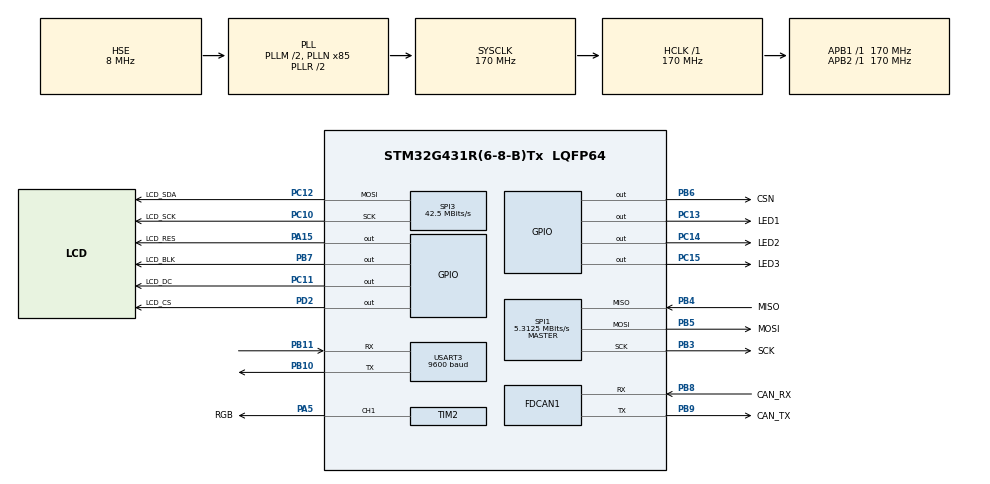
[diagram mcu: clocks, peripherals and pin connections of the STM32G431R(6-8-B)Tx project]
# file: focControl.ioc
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FDCAN1.AutoRetransmission=DISABLE
FDCAN1.CalculateBaudRateNominal=2125000
FDCAN1.CalculateTimeBitNominal=470
FDCAN1.CalculateTimeQuantumNominal=94.11764705882354
FDCAN1.DataPrescaler=10
FDCAN1.DataSyncJumpWidth=1
FDCAN1.DataTimeSeg1=8
FDCAN1.DataTimeSeg2=8
FDCAN1.FrameFormat=FDCAN_FRAME_CLASSIC
FDCAN1.NominalSyncJumpWidth=1
FDCAN1.ProtocolException=DISABLE
FDCAN1.TransmitPause=DISABLE
Mcu.Family=STM32G4
Mcu.Name=STM32G431R(6-8-B)Tx
Mcu.Package=LQFP64
NVIC.FDCAN1_IT0_IRQn=true\:0\:0\:false\:false\:true\:true\:true\:true
NVIC.PriorityGroup=NVIC_PRIORITYGROUP_4
NVIC.USART3_IRQn=true\:0\:0\:false\:false\:true\:true\:true\:true
PA13.Mode=Serial_Wire
PA13.Signal=SYS_JTMS-SWDIO
PA14.Mode=Serial_Wire
PA14.Signal=SYS_JTCK-SWCLK
PA15.GPIO_Label=LCD_RES
PA15.GPIO_Speed=GPIO_SPEED_FREQ_LOW
PA15.Signal=GPIO_Output
PA5.GPIO_Label=RGB
PA5.Signal=S_TIM2_CH1
PB10.GPIO_ModeDefaultPP=GPIO_MODE_AF_OD
PB10.Mode=Asynchronous
PB10.Signal=USART3_TX
PB11.GPIO_ModeDefaultPP=GPIO_MODE_AF_OD
PB11.Mode=Asynchronous
PB11.Signal=USART3_RX
PB3.GPIO_Label=SCK
PB3.Mode=Full_Duplex_Master
PB3.Signal=SPI1_SCK
PB4.GPIO_Label=MISO
PB4.Mode=Full_Duplex_Master
PB4.Signal=SPI1_MISO
PB5.GPIO_Label=MOSI
PB5.Mode=Full_Duplex_Master
PB5.Signal=SPI1_MOSI
PB6.GPIO_Label=CSN
PB6.PinState=GPIO_PIN_SET
PB6.Signal=GPIO_Output
PB7.GPIO_Label=LCD_BLK
PB7.GPIO_Speed=GPIO_SPEED_FREQ_LOW
PB7.Signal=GPIO_Output
PB8-BOOT0.GPIO_Label=CAN_RX
PB8-BOOT0.Mode=FDCAN_Activate
PB8-BOOT0.Signal=FDCAN1_RX
PB9.GPIO_Label=CAN_TX
PB9.Mode=FDCAN_Activate
PB9.Signal=FDCAN1_TX
PC10.GPIO_Label=LCD_SCK
PC10.GPIO_Speed=GPIO_SPEED_FREQ_VERY_HIGH
PC10.Mode=TX_Only_Simplex_Unidirect_Master
PC10.Signal=SPI3_SCK
PC11.GPIO_Label=LCD_DC
PC11.GPIO_Speed=GPIO_SPEED_FREQ_LOW
PC11.Signal=GPIO_Output
PC12.GPIO_Label=LCD_SDA
PC12.GPIO_Speed=GPIO_SPEED_FREQ_VERY_HIGH
PC12.Mode=TX_Only_Simplex_Unidirect_Master
PC12.Signal=SPI3_MOSI
PC13.GPIO_Label=LED1
PC13.Signal=GPIO_Output
PC14-OSC32_IN.GPIO_Label=LED2
PC14-OSC32_IN.Signal=GPIO_Output
PC15-OSC32_OUT.GPIO_Label=LED3
PC15-OSC32_OUT.Signal=GPIO_Output
PD2.GPIO_Label=LCD_CS
PD2.GPIO_Speed=GPIO_SPEED_FREQ_LOW
PD2.Signal=GPIO_Output
PF0-OSC_IN.Mode=HSE-External-Oscillator
PF0-OSC_IN.Signal=RCC_OSC_IN
PF1-OSC_OUT.Mode=HSE-External-Oscillator
PF1-OSC_OUT.Signal=RCC_OSC_OUT
ProjectManager.HeapSize=0x200
ProjectManager.StackSize=0x400
ProjectManager.TargetToolchain=MDK-ARM V5.32
RCC.ADC12Freq_Value=170000000
RCC.AHBFreq_Value=170000000
RCC.APB1Freq_Value=170000000
RCC.APB1TimFreq_Value=170000000
RCC.APB2Freq_Value=170000000
RCC.APB2TimFreq_Value=170000000
RCC.CortexFreq_Value=170000000
RCC.EXTERNAL_CLOCK_VALUE=12288000
RCC.HCLKFreq_Value=170000000
RCC.HSE_VALUE=8000000
RCC.HSI48_VALUE=48000000
RCC.HSI_VALUE=16000000
RCC.LSE_VALUE=32768
RCC.PLLM=RCC_PLLM_DIV2
RCC.PLLN=85
RCC.PLLSourceVirtual=RCC_PLLSOURCE_HSE
RCC.SYSCLKFreq_VALUE=170000000
RCC.SYSCLKSource=RCC_SYSCLKSOURCE_PLLCLK
RCC.USBFreq_Value=170000000
RCC.VCOOutputFreq_Value=340000000
SH.S_TIM2_CH1.0=TIM2_CH1,PWM Generation1 CH1
SPI1.BaudRatePrescaler=SPI_BAUDRATEPRESCALER_32
SPI1.CLKPhase=SPI_PHASE_2EDGE
SPI1.CLKPolarity=SPI_POLARITY_HIGH
SPI1.CalculateBaudRate=5.3125 MBits/s
SPI1.DataSize=SPI_DATASIZE_16BIT
SPI1.Direction=SPI_DIRECTION_2LINES
SPI1.Mode=SPI_MODE_MASTER
SPI1.VirtualType=VM_MASTER
SPI3.BaudRatePrescaler=SPI_BAUDRATEPRESCALER_4
SPI3.CLKPhase=SPI_PHASE_1EDGE
SPI3.CLKPolarity=SPI_POLARITY_HIGH
SPI3.CalculateBaudRate=42.5 MBits/s
SPI3.DataSize=SPI_DATASIZE_8BIT
SPI3.Direction=SPI_DIRECTION_2LINES
SPI3.Mode=SPI_MODE_MASTER
SPI3.VirtualType=VM_MASTER
TIM2.AutoReloadPreload=TIM_AUTORELOAD_PRELOAD_ENABLE
TIM2.Channel-PWM\ Generation1\ CH1=TIM_CHANNEL_1
TIM2.ClockDivision=TIM_CLOCKDIVISION_DIV1
TIM2.PeriodNoDither=1000
TIM2.Prescaler=170
TIM2.PulseNoDither_1=200
USART3.BaudRate=9600
USART3.ClockPrescaler=PRESCALER_DIV1
USART3.VirtualMode-Asynchronous=VM_ASYNC
VP_SYS_VS_DBSignals.Mode=DisableDeadBatterySignals
VP_TIM2_VS_ClockSourceINT.Mode=Internal
board=custom

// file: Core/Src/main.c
/* USER CODE BEGIN Header */
/**
  ******************************************************************************
  * @file           : main.c
  * @brief          : Main program body
  ******************************************************************************
  * @attention
  *
  * Copyright (c) 2024 STMicroelectronics.
  * All rights reserved.
  *
  * This software is licensed under terms that can be found in the LICENSE file
  * in the root directory of this software component.
  * If no LICENSE file comes with this software, it is provided AS-IS.
  *
  ******************************************************************************
  */
/* USER CODE END Header */
#include "main.h"
#include "fdcan.h"
#include "spi.h"
#include "tim.h"
#include "usart.h"
#include "gpio.h"

/* USER CODE BEGIN Includes */
#include "stdio.h"
#include "st7789.h"
#include "mt6825.h"
//#include "picture.h"
/* USER CODE END Includes */

/* USER CODE BEGIN PM */
uint32_t angle = 0;
char string1[20];
char string2[20];
/* USER CODE END PM */

void SystemClock_Config(void);

int main(void)
{
  /* USER CODE BEGIN 1 */
	float t = 0;
  /* USER CODE END 1 */

  /* MCU Configuration--------------------------------------------------------*/

  /* Reset of all peripherals, Initializes the Flash interface and the Systick. */
  HAL_Init();

  /* Configure the system clock */
  SystemClock_Config();

  /* Initialize all configured peripherals */
  MX_GPIO_Init();
  MX_SPI3_Init();
  MX_USART3_UART_Init();
  MX_FDCAN1_Init();
  MX_TIM2_Init();
  MX_SPI1_Init();
  /* USER CODE BEGIN 2 */
	HAL_GPIO_WritePin(LED1_GPIO_Port,LED1_Pin,GPIO_PIN_SET);
	ST7789_Init();
//	ST7789_Test();
	HAL_GPIO_WritePin(LED2_GPIO_Port,LED2_Pin,GPIO_PIN_SET);
  /* USER CODE END 2 */

  /* Infinite loop */
  /* USER CODE BEGIN WHILE */
  while (1)
  {
//		HAL_UART_Transmit(&huart3,(uint8_t *)0x11,1,0xffff);
//		HAL_Delay(20);
		sprintf(string1,"data:[%u],[%u],[%u]",RxData[0],RxData[1],RxData[2]);
		ST7789_WriteString(10, 10, string1, Font_7x10, WHITE, BLACK);
		angle = MT6825SPI_get_angle();
		sprintf(string2,"angle:[%d]",angle);
		ST7789_WriteString(10, 25, string2, Font_7x10, WHITE, BLACK);
    /* USER CODE END WHILE */

  }
}

void SystemClock_Config(void)
{
  RCC_OscInitTypeDef RCC_OscInitStruct = {0};
  RCC_ClkInitTypeDef RCC_ClkInitStruct = {0};

  /** Configure the main internal regulator output voltage
  */
  HAL_PWREx_ControlVoltageScaling(PWR_REGULATOR_VOLTAGE_SCALE1_BOOST);

  /** Initializes the RCC Oscillators according to the specified parameters
  * in the RCC_OscInitTypeDef structure.
  */
  RCC_OscInitStruct.OscillatorType = RCC_OSCILLATORTYPE_HSE;
  RCC_OscInitStruct.HSEState = RCC_HSE_ON;
  RCC_OscInitStruct.PLL.PLLState = RCC_PLL_ON;
  RCC_OscInitStruct.PLL.PLLSource = RCC_PLLSOURCE_HSE;
  RCC_OscInitStruct.PLL.PLLM = RCC_PLLM_DIV2;
  RCC_OscInitStruct.PLL.PLLN = 85;
  RCC_OscInitStruct.PLL.PLLP = RCC_PLLP_DIV2;
  RCC_OscInitStruct.PLL.PLLQ = RCC_PLLQ_DIV2;
  RCC_OscInitStruct.PLL.PLLR = RCC_PLLR_DIV2;
  if (HAL_RCC_OscConfig(&RCC_OscInitStruct) != HAL_OK)
  {
    Error_Handler();
  }

  /** Initializes the CPU, AHB and APB buses clocks
  */
  RCC_ClkInitStruct.ClockType = RCC_CLOCKTYPE_HCLK|RCC_CLOCKTYPE_SYSCLK
                              |RCC_CLOCKTYPE_PCLK1|RCC_CLOCKTYPE_PCLK2;
  RCC_ClkInitStruct.SYSCLKSource = RCC_SYSCLKSOURCE_PLLCLK;
  RCC_ClkInitStruct.AHBCLKDivider = RCC_SYSCLK_DIV1;
  RCC_ClkInitStruct.APB1CLKDivider = RCC_HCLK_DIV1;
  RCC_ClkInitStruct.APB2CLKDivider = RCC_HCLK_DIV1;

  if (HAL_RCC_ClockConfig(&RCC_ClkInitStruct, FLASH_LATENCY_4) != HAL_OK)
  {
    Error_Handler();
  }
}

void Error_Handler(void)
{
  __disable_irq();
  while (1)
  {
  }
}
